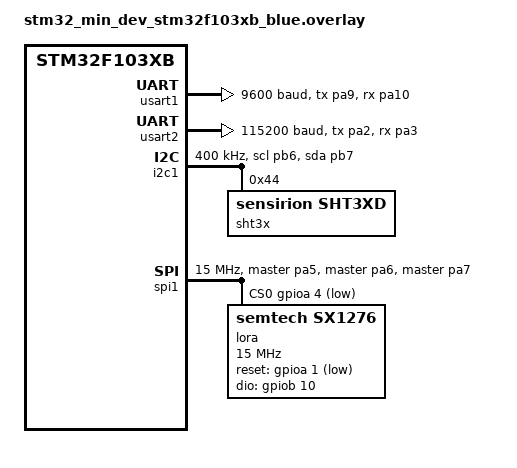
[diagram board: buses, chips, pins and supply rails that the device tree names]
/ {
    chosen {
		zephyr,console = &usart2;
		zephyr,shell-uart = &usart2;
    };

	aliases {
		pms-uart = &usart1;
		sht3x-sensor = &sht3x;
		lora0 = &lora;
	};

};

&flash0 {
	reg = <0x08000000 DT_SIZE_K(64)>;
	erase-block-size = <DT_SIZE_K(1)>;


};

&usart1 {
	pinctrl-0 = <&usart1_tx_pa9 &usart1_rx_pa10>;
	current-speed = <9600>;
	pinctrl-names = "default";
	status = "okay";
};

&usart2 {
	pinctrl-0 = <&usart2_tx_pa2 &usart2_rx_pa3>;
	current-speed = <115200>;
	pinctrl-names = "default";
	status = "okay";
};

&i2c1 {
	pinctrl-0 = < &i2c1_scl_pb6 &i2c1_sda_pb7 >;
	status = "okay";
	pinctrl-names = "default";
	clock-frequency = <I2C_BITRATE_FAST>;

	sht3x: sht3xd@44 {
		compatible = "sensirion,sht3xd";
		reg = <0x44>;
	};
};

&spi1 {
	clock-frequency = <DT_FREQ_M(15)>;
	status = "okay";
	cs-gpios = <&gpioa 4 GPIO_ACTIVE_LOW>;
	pinctrl-0 = <&spi1_sck_master_pa5
		     &spi1_miso_master_pa6 &spi1_mosi_master_pa7>;

	lora: lora@0 {
		status = "okay";
		compatible = "semtech,sx1276";
		reg = <0x0>;
		spi-max-frequency = <DT_FREQ_M(15)>;
		reset-gpios = <&gpioa 1 GPIO_ACTIVE_LOW>;
		dio-gpios = <&gpiob 10 (GPIO_PULL_DOWN | GPIO_ACTIVE_HIGH)>;
        power-amplifier-output = "pa-boost";
	};
};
